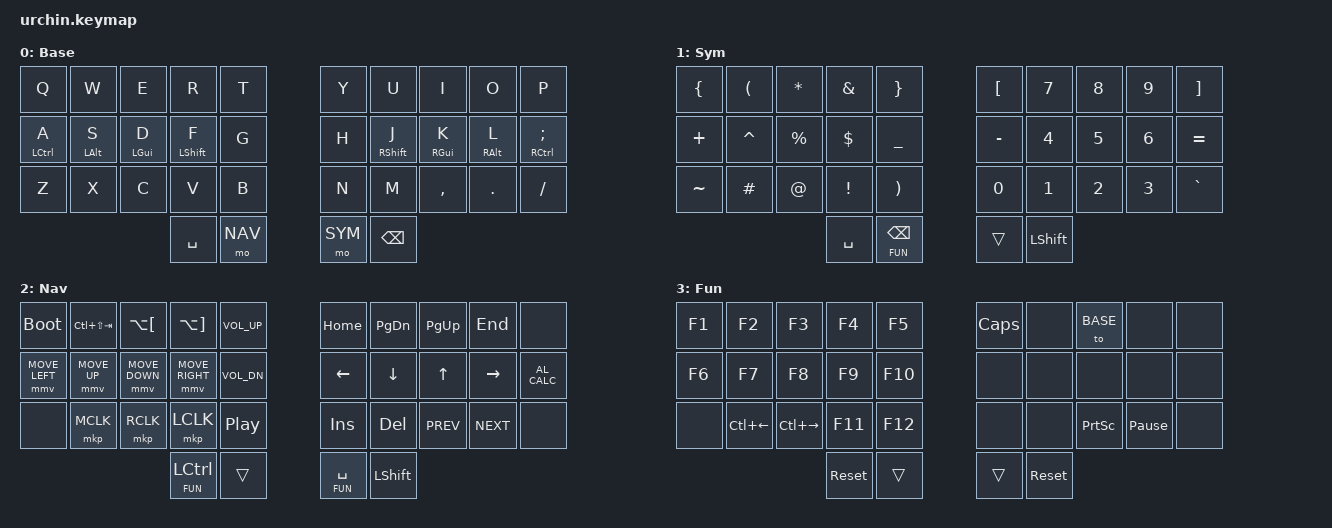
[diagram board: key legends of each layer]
/*
 * Copyright (c) 2020 duckyb
 *
 * SPDX-License-Identifier: MIT
 */

#include <behaviors.dtsi>
#include <dt-bindings/zmk/keys.h>
#include <dt-bindings/zmk/pointing.h>

#define BASE 0
#define SYM 1
#define NAV 2
#define FUN 3

&mt {
    flavor = "tap-preferred";
    tapping-term-ms = <150>;
    quick-tap-ms = <0>;
};

&lt {
    flavor = "tap-preferred";
    tapping-term-ms = <150>;
    quick-tap-ms = <0>;
};

/ {
    combos {
        compatible = "zmk,combos";

        combo_esc {
            timeout-ms = <40>;
            key-positions = <2 3>;
            bindings = <&kp ESC>;
            layers = <BASE>;
        };

        combo_tab {
            timeout-ms = <40>;
            key-positions = <12 13>;
            bindings = <&kp TAB>;
            layers = <BASE>;
        };

        combo_lpar {
            timeout-ms = <40>;
            key-positions = <11 12>;
            bindings = <&kp LPAR>;
            layers = <BASE>;
        };

        combo_f17 {
            timeout-ms = <40>;
            key-positions = <22 23>;
            bindings = <&kp F17>;
            layers = <BASE>;
        };

        combo_enter {
            timeout-ms = <40>;
            key-positions = <6 7>;
            bindings = <&kp ENTER>;
            layers = <BASE>;
        };

        combo_quote {
            timeout-ms = <40>;
            key-positions = <16 17>;
            bindings = <&kp SQT>;
            layers = <BASE>;
        };

        combo_rpar {
            timeout-ms = <40>;
            key-positions = <17 18>;
            bindings = <&kp RPAR>;
            layers = <BASE>;
        };

        combo_bslh {
            timeout-ms = <40>;
            key-positions = <26 27>;
            bindings = <&kp BSLH>;
            layers = <BASE>;
        };

        combo_pipe {
            timeout-ms = <40>;
            key-positions = <27 28>;
            bindings = <&kp PIPE>;
            layers = <BASE>;
        };
    };

    keymap {
        compatible = "zmk,keymap";

        default_layer {
            label = "Base";
            bindings = <
&kp Q        &kp W       &kp E       &kp R         &kp T    &kp Y    &kp U         &kp I       &kp O       &kp P
&mt LCTRL A  &mt LALT S  &mt LGUI D  &mt LSHIFT F  &kp G    &kp H    &mt RSHIFT J  &mt RGUI K  &mt RALT L  &mt RCTRL SEMI
&kp Z        &kp X       &kp C       &kp V         &kp B    &kp N    &kp M         &kp COMMA   &kp DOT     &kp SLASH
                                     &kp SPACE     &mo NAV  &mo SYM  &kp BSPC
            >;
        };

        sym_layer {
            label = "Sym";
            bindings = <
&kp LBRC   &kp LPAR   &kp ASTERISK  &kp AMPS   &kp RBRC      &kp LBKT   &kp N7      &kp N8  &kp N9  &kp RBKT
&kp PLUS   &kp CARET  &kp PRCNT     &kp DLLR   &kp UNDER     &kp MINUS  &kp N4      &kp N5  &kp N6  &kp EQUAL
&kp TILDE  &kp HASH   &kp AT        &kp EXCL   &kp RPAR      &kp N0     &kp N1      &kp N2  &kp N3  &kp GRAVE
                                    &kp SPACE  &lt FUN BSPC  &trans     &kp LSHIFT
            >;
        };

        nav_layer {
            label = "Nav";
            bindings = <
&bootloader     &kp LC(LS(TAB))  &kp LA(LEFT_BRACKET)  &kp LA(RIGHT_BRACKET)  &kp C_VOL_UP  &kp HOME       &kp PG_DN   &kp PG_UP   &kp END     &none
&mmv MOVE_LEFT  &mmv MOVE_UP     &mmv MOVE_DOWN        &mmv MOVE_RIGHT        &kp C_VOL_DN  &kp LEFT       &kp DOWN    &kp UP      &kp RIGHT   &kp C_AL_CALC
&none           &mkp MCLK        &mkp RCLK             &mkp LCLK              &kp C_PP      &kp INS        &kp DEL     &kp C_PREV  &kp C_NEXT  &none
                                                       &lt FUN LCTRL          &trans        &lt FUN SPACE  &kp LSHIFT
            >;
        };

        fun_layer {
            label = "Fun";
            bindings = <
&kp F1  &kp F2        &kp F3         &kp F4      &kp F5   &kp CAPS  &none       &to BASE   &none            &none
&kp F6  &kp F7        &kp F8         &kp F9      &kp F10  &none     &none       &none      &none            &none
&none   &kp LC(LEFT)  &kp LC(RIGHT)  &kp F11     &kp F12  &none     &none       &kp PSCRN  &kp PAUSE_BREAK  &none
                                     &sys_reset  &trans   &trans    &sys_reset
            >;
        };
    };
};
